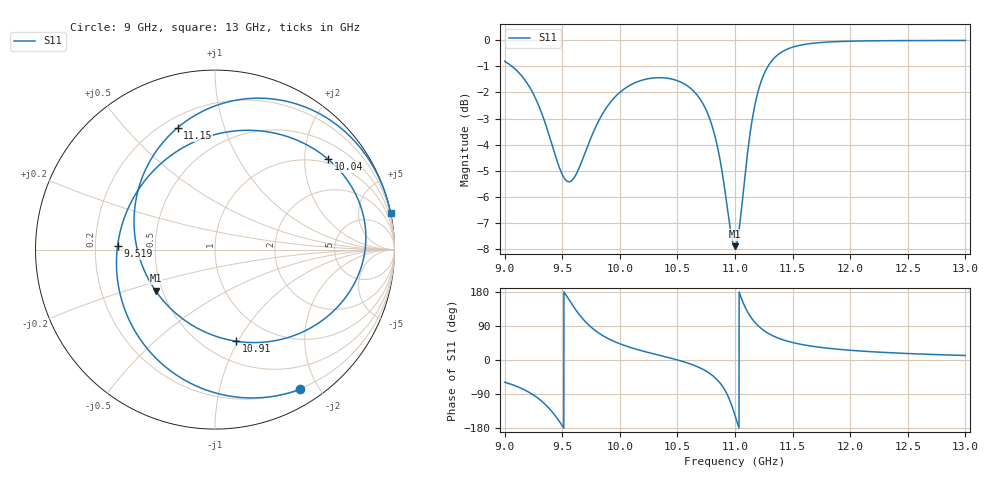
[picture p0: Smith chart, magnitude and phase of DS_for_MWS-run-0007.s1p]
! TOUCHSTONE file generated by CST DESIGN STUDIO
! Date and time: Tue Feb  4 14:37:06 2025
! Project name: C:\Work\MatlabApps\UnitCellOptimizationMatlab\CST\unitcell.cst
! Tree item: Tasks\Sweep1\SPara1\S-Parameters
! Header version: 2024
! Port assignment regex: !\s*Touchstone port\s*([0-9]+)\s*=\s*(CST MWS port|CST DES external port|CST DES block port)\s*(.+)\s* \(\"(.*)\"\)(\s*mode\s*([0-9]+))?.*
! Touchstone port assignment:
! Touchstone port 1 = CST DES external port 1 ("")
# GHz S MA R 50
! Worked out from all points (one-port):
!   4001 points, 9 GHz to 13 GHz, reference 50 ohm
!   lowest |S11| = -7.9 dB at 11 GHz (marker M1), VSWR 2.35, Z = 23 - j12.6 ohm
!   |S11| at or under -10 dB: nowhere
!   S11 on the Smith chart (normalised r, x): 9 GHz: 0.19, -1.77; 9.519 GHz: 0.30, +0.02; 10.04 GHz: 0.89, +2.57; 10.91 GHz: 0.70, -0.98; 11.15 GHz: 0.26, +0.71; 13 GHz: 0.01, +9.63
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9  0.9119 -58.6
9.172  0.8417 -78.7
9.288  0.7568 -100.4
9.388  0.6557 -128.2
9.5  0.553 -173.1
9.519  0.5435 178.0
9.626  0.556 128.9
9.722  0.6277 94.7
9.835  0.7131 67.6
10  0.7946 42.8
10.036  0.8062 38.8
10.254  0.8447 19.2
10.5  0.8368 0.2
10.637  0.8007 -13.2
10.743  0.7403 -28.2
10.829  0.6511 -47.2
10.908  0.5232 -77.2
10.954  0.442 -105.9
10.999  0.4026 -145.3
11  0.4026 -146.2
11.07  0.507 151.6
11.152  0.7103 107.1
11.221  0.8267 84.8
11.314  0.9104 66.1
11.5  0.9705 46.1
12  0.9965 25.6
12.5  0.9992 17.1
13  0.9997 11.9
